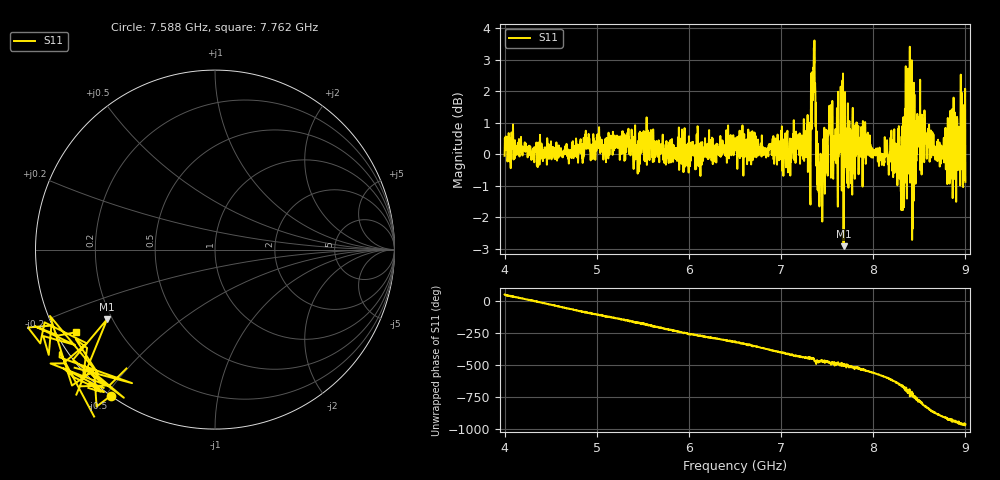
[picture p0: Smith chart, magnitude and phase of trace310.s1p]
! Created with skrf 1.8.0 (http://scikit-rf.org).
# Hz S RI R 50.0
!freq ReS11 ImS11
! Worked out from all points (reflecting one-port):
!   1601 points, 4 GHz to 9 GHz, reference 50 ohm
!   lowest |S11| = -2.9 dB at 7.678 GHz (marker M1), VSWR 6.01, Z = 9.02 - j14.3 ohm
!   phase of S11 starts at 54 deg and turns -1019 deg over the sweep
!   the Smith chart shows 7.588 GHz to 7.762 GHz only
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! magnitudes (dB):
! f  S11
! 4 GHz  -0.1
! 4.625 GHz  -0.1
! 5.25 GHz  -0.2
! 5.875 GHz  0.0
! 6.5 GHz  0.5
! 7.125 GHz  0.3
! 7.294 GHz  0.6
! 7.322 GHz  1.0
! 7.347 GHz  1.9
! 7.362 GHz  3.6
! 7.4 GHz  0.3
! 7.428 GHz  0.0
! 7.534 GHz  0.9
! 7.591 GHz  0.8
! 7.65 GHz  1.2
! 7.678 GHz  -2.9
! 7.75 GHz  0.6
! 8.259 GHz  0.2
! 8.312 GHz  0.9
! 8.375 GHz  0.3
! 8.394 GHz  0.8
! 8.412 GHz  0.9
! 8.447 GHz  1.9
! 8.466 GHz  -0.1
! 8.522 GHz  0.6
! 8.731 GHz  0.0
! 8.972 GHz  1.1
! 9 GHz  -0.9
